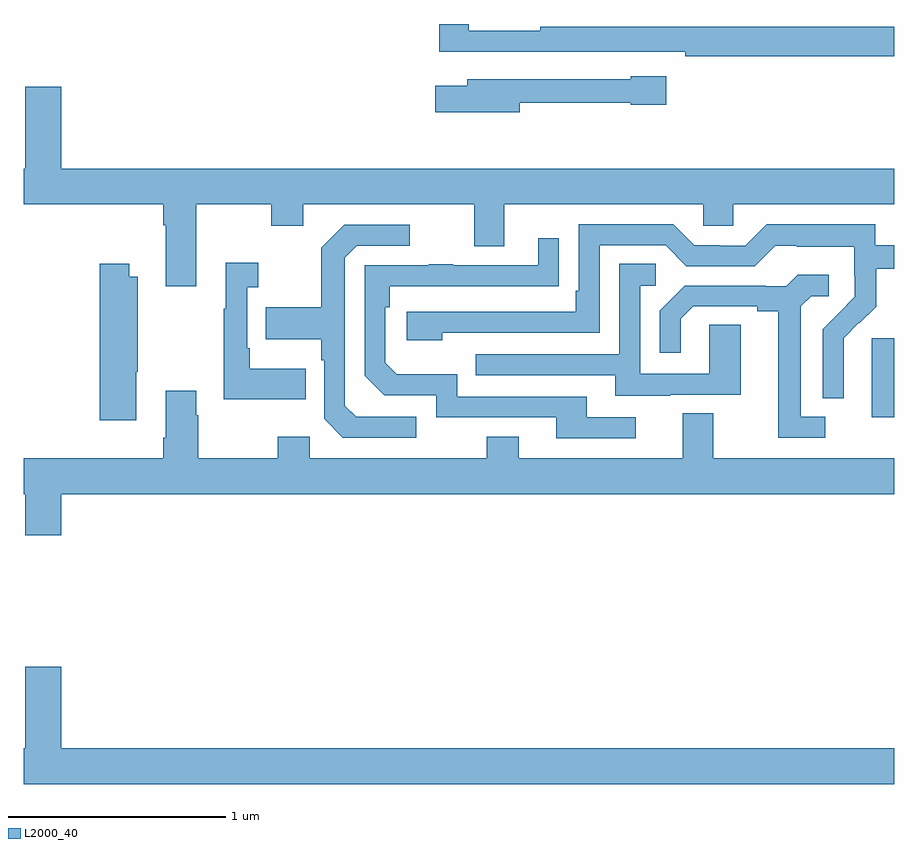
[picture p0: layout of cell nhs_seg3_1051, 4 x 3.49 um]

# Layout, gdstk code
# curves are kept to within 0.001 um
import gdstk
lib = gdstk.Library(unit=1e-6, precision=1e-09)
def R(c, l, rs):  # rectangles x0, y0, x1, y1
    for r in rs: c.add(gdstk.rectangle(r[:2], r[2:], *l))
def P(c, l, *ps):  # polygons
    for p in ps: c.add(gdstk.Polygon(p, *l))
L2000_40 = (2000, 40)

nhs_seg3_1051 = lib.new_cell('nhs_seg3_1051')
R(nhs_seg3_1051, L2000_40, [(168.896,710.594,169,710.955)])
P(nhs_seg3_1051, L2000_40, [(169,712.388),(167.374,712.388),(167.374,712.368),(167.045,712.368),(167.045,712.4),(166.909,712.4),(166.909,712.272),(168.04,712.272),(168.04,712.252),(169,712.252)],
  [(167.278,712.038),(167.79,712.038),(167.79,712.03),(167.953,712.03),(167.953,712.159),(167.79,712.159),(167.79,712.146),(167.039,712.146),(167.039,712.117),(166.89,712.117),(166.89,711.995),(167.278,711.995)],
  [(165.793,711.572),(166.138,711.572),(166.138,711.473),(166.285,711.473),(166.285,711.572),(167.069,711.572),(167.069,711.378),(167.209,711.378),(167.209,711.572),(168.123,711.572),(168.123,711.474),(168.261,711.474),(168.261,711.572),(169,711.572),(169,711.736),(165.172,711.736),(165.172,712.111),(165.008,712.111),(165.008,711.736),(165,711.736),(165,711.572),(165.641,711.572),(165.641,711.476),(165.653,711.476),(165.653,711.195),(165.793,711.195)],
  [(168.768,710.834),(168.767,710.957),(168.837,711.027),(168.84,711.024),(168.917,711.101),(168.917,711.276),(169,711.276),(169,711.384),(168.912,711.384),(168.912,711.481),(168.415,711.481),(168.315,711.381),(168.2,711.381),(168.2,711.384),(168.081,711.384),(167.985,711.48),(167.55,711.48),(167.55,711.175),(167.537,711.175),(167.537,711.078),(166.761,711.078),(166.761,710.948),(166.922,710.948),(166.922,710.982),(167.646,710.982),(167.646,711.384),(167.949,711.384),(168.045,711.288),(168.36,711.288),(168.453,711.381),(168.553,711.381),(168.553,711.377),(168.816,711.377),(168.816,711.243),(168.818,711.243),(168.818,711.146),(168.672,710.998),(168.672,710.68),(168.768,710.68)],
  [(166.804,710.595),(166.527,710.595),(166.476,710.646),(166.476,711.327),(166.53,711.381),(166.774,711.381),(166.774,711.477),(166.473,711.477),(166.368,711.371),(166.368,711.099),(166.111,711.099),(166.111,710.951),(166.368,710.951),(166.368,710.855),(166.38,710.855),(166.38,710.586),(166.467,710.499),(166.804,710.499)],
  [(167.812,710.592),(167.587,710.592),(167.587,710.688),(166.992,710.688),(166.992,710.791),(166.715,710.791),(166.662,710.844),(166.662,711.098),(166.682,711.098),(166.682,711.195),(167.459,711.196),(167.459,711.415),(167.363,711.415),(167.363,711.291),(166.973,711.291),(166.973,711.296),(166.861,711.296),(166.861,711.291),(166.566,711.291),(166.566,710.784),(166.656,710.694),(166.896,710.694),(166.896,710.592),(167.447,710.592),(167.447,710.496),(167.812,710.496)],
  [(166.295,710.815),(166.039,710.815),(166.039,710.911),(166.026,710.911),(166.026,711.191),(166.078,711.191),(166.078,711.304),(165.929,711.304),(165.929,711.091),(165.918,711.091),(165.918,710.675),(166.295,710.675)],
  [(167.971,710.697),(168.295,710.697),(168.295,711.017),(168.15,711.017),(168.15,710.793),(167.832,710.793),(167.832,711.198),(167.905,711.198),(167.905,711.299),(167.736,711.299),(167.736,710.883),(167.077,710.883),(167.077,710.787),(167.717,710.787),(167.717,710.693),(167.971,710.693)],
  [(165.517,710.803),(165.525,710.803),(165.525,711.238),(165.484,711.238),(165.484,711.298),(165.35,711.298),(165.35,710.58),(165.517,710.58)],
  [(168.682,710.595),(168.571,710.595),(168.571,711.103),(168.618,711.15),(168.7,711.15),(168.7,711.247),(168.556,711.247),(168.504,711.195),(168.41,711.195),(168.41,711.198),(168.038,711.198),(167.922,711.082),(167.922,710.889),(168.019,710.889),(168.019,711.045),(168.076,711.102),(168.371,711.102),(168.371,711.08),(168.467,711.08),(168.467,710.499),(168.682,710.499)],
  [(165.172,710.24),(169,710.24),(169,710.404),(168.169,710.404),(168.169,710.612),(168.029,710.612),(168.029,710.404),(167.275,710.404),(167.275,710.503),(167.128,710.503),(167.128,710.404),(166.314,710.404),(166.314,710.503),(166.168,710.503),(166.168,710.404),(165.801,710.404),(165.801,710.603),(165.793,710.603),(165.793,710.716),(165.653,710.716),(165.653,710.5),(165.641,710.5),(165.641,710.404),(165,710.404),(165,710.24),(165.008,710.24),(165.008,710.052),(165.172,710.052)],
  [(169,709.072),(165.172,709.072),(165.172,709.447),(165.008,709.447),(165.008,709.072),(165,709.072),(165,708.908),(169,708.908)])

lib.write_gds('nhs_seg3_1051.gds')
